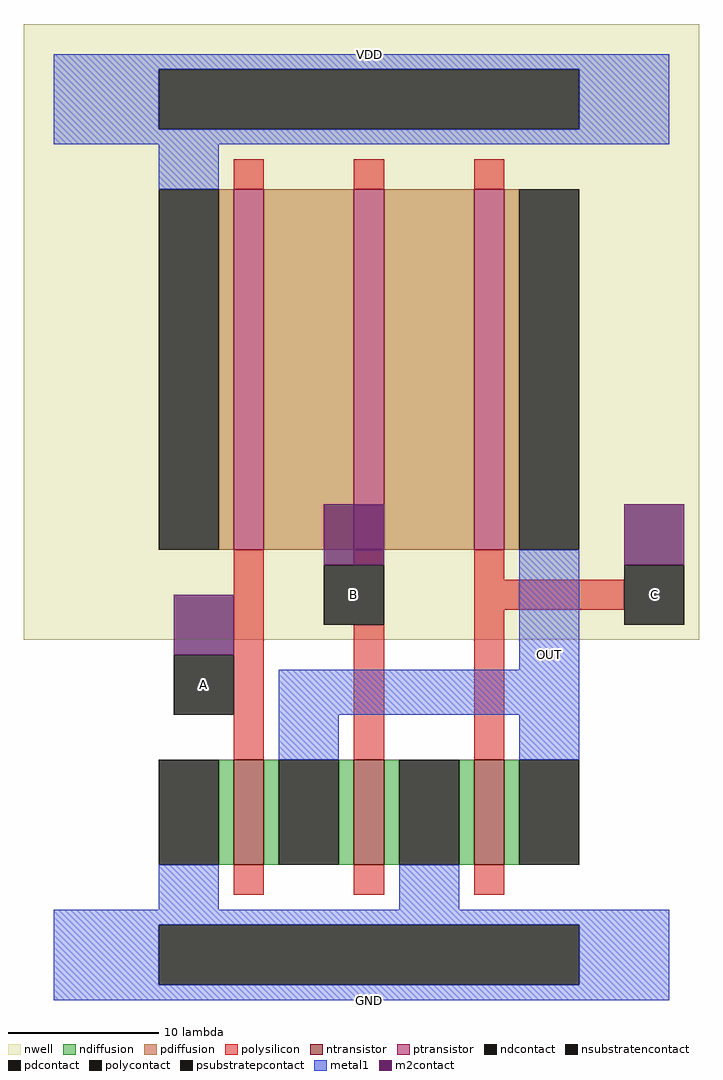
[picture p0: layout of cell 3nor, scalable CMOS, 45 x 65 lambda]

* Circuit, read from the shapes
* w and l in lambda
.subckt 3nor A B C GND OUT VDD
M1 OUT A GND GND nfet w=7 l=2
M2 GND B OUT GND nfet w=7 l=2
M3 OUT C GND GND nfet w=7 l=2
M4 n1 A VDD VDD pfet w=24 l=2
M5 n2 B n1 VDD pfet w=24 l=2
M6 OUT C n2 VDD pfet w=24 l=2
.ends

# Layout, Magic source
magic
tech scmos
<< nwell >>
rect -9 -6 36 35
<< ntransistor >>
rect 5 -21 7 -14
rect 13 -21 15 -14
rect 21 -21 23 -14
<< ptransistor >>
rect 5 0 7 24
rect 13 0 15 24
rect 21 0 23 24
<< ndiffusion >>
rect 4 -21 5 -14
rect 7 -21 8 -14
rect 12 -21 13 -14
rect 15 -21 16 -14
rect 20 -21 21 -14
rect 23 -21 24 -14
<< pdiffusion >>
rect 4 0 5 24
rect 7 0 13 24
rect 15 0 21 24
rect 23 0 24 24
<< ndcontact >>
rect 0 -21 4 -14
rect 8 -21 12 -14
rect 16 -21 20 -14
rect 24 -21 28 -14
<< pdcontact >>
rect 0 0 4 24
rect 24 0 28 24
<< psubstratepcontact >>
rect 0 -29 28 -25
<< nsubstratencontact >>
rect 0 28 28 32
<< polysilicon >>
rect 5 24 7 26
rect 13 24 15 26
rect 21 24 23 26
rect 5 -14 7 0
rect 13 -1 15 0
rect 13 -14 15 -5
rect 21 -2 23 0
rect 21 -4 31 -2
rect 21 -14 23 -4
rect 5 -23 7 -21
rect 13 -23 15 -21
rect 21 -23 23 -21
<< polycontact >>
rect 1 -11 5 -7
rect 11 -5 15 -1
rect 31 -5 35 -1
<< metal1 >>
rect -7 32 34 33
rect -7 28 0 32
rect 28 28 34 32
rect -7 27 34 28
rect 0 24 4 27
rect 24 -8 28 0
rect 8 -11 28 -8
rect 8 -14 12 -11
rect 24 -14 28 -11
rect 0 -24 4 -21
rect 16 -24 20 -21
rect -7 -25 34 -24
rect -7 -29 0 -25
rect 28 -29 34 -25
rect -7 -30 34 -29
<< m2contact >>
rect 11 -1 15 3
rect 1 -7 5 -3
rect 31 -1 35 3
<< labels >>
rlabel metal1 26 -7 26 -7 1 OUT
rlabel metal1 14 33 14 33 5 VDD
rlabel metal1 14 -30 14 -30 1 GND
rlabel polycontact 13 -3 13 -3 1 B
rlabel polycontact 33 -3 33 -3 7 C
rlabel polycontact 3 -9 3 -9 1 A
<< end >>
